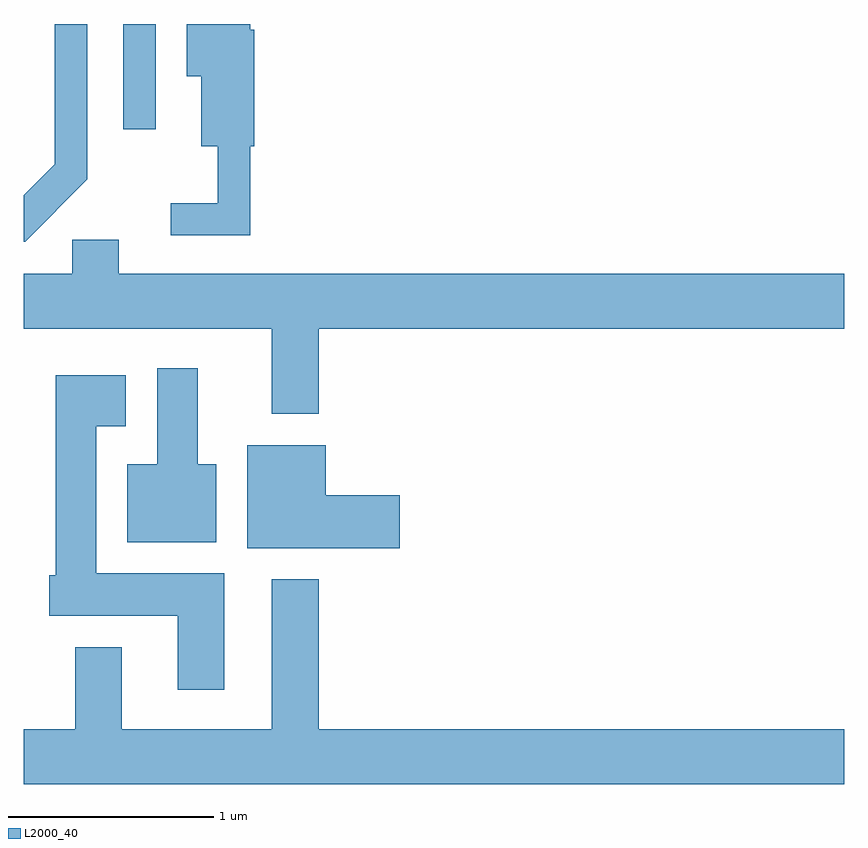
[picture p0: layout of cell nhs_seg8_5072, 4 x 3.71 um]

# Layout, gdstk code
import gdstk
lib = gdstk.Library(unit=1e-6, precision=1e-09)
def R(c, l, rs):  # rectangles x0, y0, x1, y1
    for r in rs: c.add(gdstk.rectangle(r[:2], r[2:], *l))
def P(c, l, *ps):  # polygons
    for p in ps: c.add(gdstk.Polygon(p, *l))
L2000_40 = (2000, 40)

nhs_seg8_5072 = lib.new_cell('nhs_seg8_5072')
R(nhs_seg8_5072, L2000_40, [(338.096,1841.828,338.254,1842.342)])
P(nhs_seg8_5072, L2000_40, [(338.714,1841.746),(338.734,1841.746),(338.734,1842.314),(338.714,1842.314),(338.714,1842.342),(338.406,1842.342),(338.406,1842.086),(338.476,1842.086),(338.476,1841.746),(338.556,1841.746),(338.556,1841.469),(338.328,1841.469),(338.328,1841.311),(338.714,1841.311)],
  [(337.919,1841.584),(337.919,1842.342),(337.761,1842.342),(337.761,1841.657),(337.611,1841.506),(337.611,1841.281),(337.617,1841.281)],
  [(339.049,1840.856),(341.611,1840.856),(341.611,1841.124),(338.074,1841.124),(338.074,1841.289),(337.846,1841.289),(337.846,1841.124),(337.611,1841.124),(337.611,1840.856),(338.821,1840.856),(338.821,1840.441),(339.049,1840.441)],
  [(338.549,1840.194),(338.459,1840.194),(338.459,1840.664),(338.261,1840.664),(338.261,1840.194),(338.116,1840.194),(338.116,1839.816),(338.549,1839.816)],
  [(338.589,1839.664),(337.964,1839.664),(337.964,1840.381),(338.109,1840.381),(338.109,1840.629),(337.766,1840.629),(337.766,1839.654),(337.736,1839.654),(337.736,1839.456),(338.361,1839.456),(338.361,1839.096),(338.589,1839.096)],
  [(339.444,1840.044),(339.084,1840.044),(339.084,1840.289),(338.701,1840.289),(338.701,1839.786),(339.444,1839.786)],
  [(341.611,1838.904),(339.049,1838.904),(339.049,1839.634),(338.821,1839.634),(338.821,1838.904),(338.089,1838.904),(338.089,1839.304),(337.861,1839.304),(337.861,1838.904),(337.611,1838.904),(337.611,1838.636),(341.611,1838.636)])

lib.write_gds('nhs_seg8_5072.gds')
